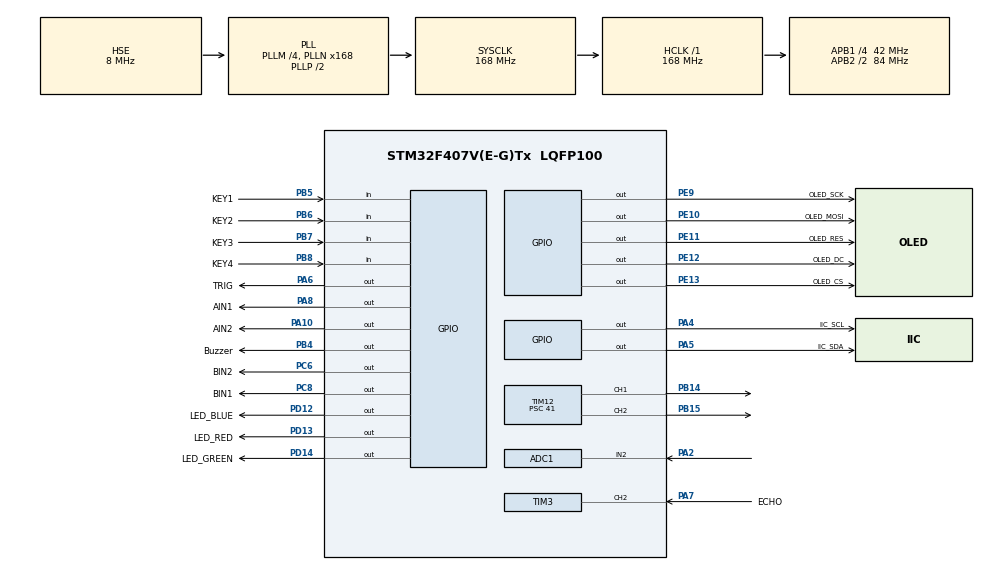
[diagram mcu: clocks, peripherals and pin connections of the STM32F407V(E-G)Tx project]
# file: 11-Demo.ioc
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ADC1.Channel-0\#ChannelRegularConversion=ADC_CHANNEL_2
ADC1.NbrOfConversionFlag=1
ADC1.Rank-0\#ChannelRegularConversion=1
ADC1.SamplingTime-0\#ChannelRegularConversion=ADC_SAMPLETIME_3CYCLES
ADC1.master=1
Mcu.Family=STM32F4
Mcu.Name=STM32F407V(E-G)Tx
Mcu.Package=LQFP100
NVIC.PriorityGroup=NVIC_PRIORITYGROUP_4
NVIC.TIM3_IRQn=true\:0\:0\:false\:false\:true\:true\:true\:true
PA10.GPIO_Label=AIN2
PA10.GPIO_Speed=GPIO_SPEED_FREQ_MEDIUM
PA10.Signal=GPIO_Output
PA13.Mode=Serial_Wire
PA13.Signal=SYS_JTMS-SWDIO
PA14.Mode=Serial_Wire
PA14.Signal=SYS_JTCK-SWCLK
PA2.Signal=ADCx_IN2
PA4.GPIO_Label=IIC_SCL
PA4.GPIO_ModeDefaultOutputPP=GPIO_MODE_OUTPUT_OD
PA4.GPIO_PuPd=GPIO_PULLUP
PA4.GPIO_Speed=GPIO_SPEED_FREQ_MEDIUM
PA4.PinState=GPIO_PIN_SET
PA4.Signal=GPIO_Output
PA5.GPIO_Label=IIC_SDA
PA5.GPIO_ModeDefaultOutputPP=GPIO_MODE_OUTPUT_OD
PA5.GPIO_PuPd=GPIO_PULLUP
PA5.GPIO_Speed=GPIO_SPEED_FREQ_MEDIUM
PA5.PinState=GPIO_PIN_SET
PA5.Signal=GPIO_Output
PA6.GPIO_Label=TRIG
PA6.GPIO_Speed=GPIO_SPEED_FREQ_MEDIUM
PA6.Signal=GPIO_Output
PA7.GPIO_Label=ECHO
PA7.GPIO_Speed=GPIO_SPEED_FREQ_MEDIUM
PA7.Signal=S_TIM3_CH2
PA8.GPIO_Label=AIN1
PA8.GPIO_Speed=GPIO_SPEED_FREQ_MEDIUM
PA8.Signal=GPIO_Output
PB14.Signal=S_TIM12_CH1
PB15.Signal=S_TIM12_CH2
PB4.GPIO_Label=Buzzer
PB4.GPIO_Speed=GPIO_SPEED_FREQ_MEDIUM
PB4.Signal=GPIO_Output
PB5.GPIO_Label=KEY1
PB5.GPIO_PuPd=GPIO_PULLUP
PB5.Signal=GPIO_Input
PB6.GPIO_Label=KEY2
PB6.GPIO_PuPd=GPIO_PULLUP
PB6.Signal=GPIO_Input
PB7.GPIO_Label=KEY3
PB7.GPIO_PuPd=GPIO_PULLUP
PB7.Signal=GPIO_Input
PB8.GPIO_Label=KEY4
PB8.GPIO_PuPd=GPIO_PULLUP
PB8.Signal=GPIO_Input
PC14-OSC32_IN.Mode=LSE-External-Oscillator
PC14-OSC32_IN.Signal=RCC_OSC32_IN
PC15-OSC32_OUT.Mode=LSE-External-Oscillator
PC15-OSC32_OUT.Signal=RCC_OSC32_OUT
PC6.GPIO_Label=BIN2
PC6.GPIO_Speed=GPIO_SPEED_FREQ_MEDIUM
PC6.Signal=GPIO_Output
PC8.GPIO_Label=BIN1
PC8.GPIO_Speed=GPIO_SPEED_FREQ_MEDIUM
PC8.Signal=GPIO_Output
PD12.GPIO_Label=LED_BLUE
PD12.GPIO_Speed=GPIO_SPEED_FREQ_MEDIUM
PD12.Signal=GPIO_Output
PD13.GPIO_Label=LED_RED
PD13.GPIO_Speed=GPIO_SPEED_FREQ_MEDIUM
PD13.Signal=GPIO_Output
PD14.GPIO_Label=LED_GREEN
PD14.GPIO_Speed=GPIO_SPEED_FREQ_MEDIUM
PD14.Signal=GPIO_Output
PE10.GPIO_Label=OLED_MOSI
PE10.GPIO_Speed=GPIO_SPEED_FREQ_MEDIUM
PE10.Signal=GPIO_Output
PE11.GPIO_Label=OLED_RES
PE11.GPIO_Speed=GPIO_SPEED_FREQ_MEDIUM
PE11.Signal=GPIO_Output
PE12.GPIO_Label=OLED_DC
PE12.GPIO_Speed=GPIO_SPEED_FREQ_MEDIUM
PE12.Signal=GPIO_Output
PE13.GPIO_Label=OLED_CS
PE13.GPIO_Speed=GPIO_SPEED_FREQ_MEDIUM
PE13.Signal=GPIO_Output
PE9.GPIO_Label=OLED_SCK
PE9.GPIO_Speed=GPIO_SPEED_FREQ_MEDIUM
PE9.Signal=GPIO_Output
PH0-OSC_IN.Mode=HSE-External-Oscillator
PH0-OSC_IN.Signal=RCC_OSC_IN
PH1-OSC_OUT.Mode=HSE-External-Oscillator
PH1-OSC_OUT.Signal=RCC_OSC_OUT
ProjectManager.HeapSize=0x200
ProjectManager.StackSize=0x400
ProjectManager.TargetToolchain=MDK-ARM V5.32
RCC.48MHZClocksFreq_Value=84000000
RCC.AHBFreq_Value=168000000
RCC.APB1CLKDivider=RCC_HCLK_DIV4
RCC.APB1Freq_Value=42000000
RCC.APB1TimFreq_Value=84000000
RCC.APB2CLKDivider=RCC_HCLK_DIV2
RCC.APB2Freq_Value=84000000
RCC.APB2TimFreq_Value=168000000
RCC.CortexFreq_Value=168000000
RCC.HCLKFreq_Value=168000000
RCC.HSE_VALUE=8000000
RCC.HSI_VALUE=16000000
RCC.PLLM=4
RCC.PLLN=168
RCC.PLLSourceVirtual=RCC_PLLSOURCE_HSE
RCC.SYSCLKFreq_VALUE=168000000
RCC.SYSCLKSource=RCC_SYSCLKSOURCE_PLLCLK
RCC.VCOOutputFreq_Value=336000000
SH.ADCx_IN2.0=ADC1_IN2,IN2
SH.S_TIM12_CH1.0=TIM12_CH1,PWM Generation1 CH1
SH.S_TIM12_CH2.0=TIM12_CH2,PWM Generation2 CH2
SH.S_TIM3_CH2.0=TIM3_CH2,Input_Capture2_from_TI2
TIM12.Channel-PWM\ Generation1\ CH1=TIM_CHANNEL_1
TIM12.Channel-PWM\ Generation2\ CH2=TIM_CHANNEL_2
TIM12.Period=99
TIM12.Prescaler=41
TIM3.AutoReloadPreload=TIM_AUTORELOAD_PRELOAD_ENABLE
TIM3.Channel-Input_Capture2_from_TI2=TIM_CHANNEL_2
TIM3.Prescaler=83
VP_TIM12_VS_ClockSourceINT.Mode=Internal
VP_TIM3_VS_ClockSourceINT.Mode=Internal
board=custom

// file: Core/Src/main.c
/* USER CODE BEGIN Header */
/**
  ******************************************************************************
  * @file           : main.c
  * @brief          : Main program body
  ******************************************************************************
  * @attention
  *
  * Copyright (c) 2025 STMicroelectronics.
  * All rights reserved.
  *
  * This software is licensed under terms that can be found in the LICENSE file
  * in the root directory of this software component.
  * If no LICENSE file comes with this software, it is provided AS-IS.
  *
  ******************************************************************************
  */
/* USER CODE END Header */
#include "main.h"
#include "adc.h"
#include "tim.h"
#include "gpio.h"

/* USER CODE BEGIN Includes */
#include "oled.h"
#include "buzzer.h"
#include "led.h"
#include "key.h"
#include "adc.h"
#include "hcsr04.h"
#include "MPU6050.h"
#include "motor.h"
/* USER CODE END Includes */

/* USER CODE BEGIN PV */
float distance;                         // 距离变量(cm)
uint32_t ldr_value;                     // LDR原始值
float voltage;                          // LDR电压值(V)
uint8_t display_mode;                   // 显示模式(0:距离 1:LDR)
int16_t AX, AY, AZ, GX, GY, GZ;			//定义用于存放各个数据的变量
/* USER CODE END PV */

void SystemClock_Config(void);

int main(void)
{

  /* USER CODE BEGIN 1 */
  display_mode = 0;
  /* USER CODE END 1 */

  /* MCU Configuration--------------------------------------------------------*/

  /* Reset of all peripherals, Initializes the Flash interface and the Systick. */
  HAL_Init();

  /* Configure the system clock */
  SystemClock_Config();

  /* Initialize all configured peripherals */
  MX_GPIO_Init();
  MX_ADC1_Init();
  MX_TIM3_Init();
  MX_TIM12_Init();
  /* USER CODE BEGIN 2 */
  oled_init();
  MPU6050_Init();
  led_blue_off();

  HAL_TIM_Base_Start_IT(&htim3);
  HAL_TIM_IC_Start_IT(&htim3, TIM_CHANNEL_2);

  hcsr04_start();

  HAL_TIM_PWM_Start(&htim12, TIM_CHANNEL_1);
  HAL_TIM_PWM_Start(&htim12, TIM_CHANNEL_2);

  motor_setspeed1(30);
  motor_setspeed2(-30);
  /* USER CODE END 2 */

  /* Infinite loop */
  while (1)
  {

    /* USER CODE BEGIN 3 */
	uint8_t key = key_getnum();
    if (key == 1)
    {
		display_mode++;      // 切换显示模式
		if (display_mode > 2)
		{
			display_mode = 0;
		}

		buzzer_on();
		HAL_Delay(100);
		buzzer_off();
		oled_clear();
    }

	// 读取LDR数据
	HAL_ADC_Start(&hadc1);
    HAL_ADC_PollForConversion(&hadc1, HAL_MAX_DELAY);
    ldr_value = HAL_ADC_GetValue(&hadc1);
    voltage = (ldr_value / 4095.0f) * 3.3f;

	// 超声波测距
    distance = hcsr04_getdistance(&HCSR04);
	hcsr04_start();

	// 读取陀螺仪数据
	MPU6050_GetData(&AX, &AY, &AZ, &GX, &GY, &GZ);

	if (distance < 20.0f && distance > 0.0f)
    {
		led_red_on();
		led_green_off();
		if (distance < 10.0f)
		{
			buzzer_on();        // 近距离蜂鸣报警
		}
		else
		{
			buzzer_off();
		}
    }
    else
    {
		led_red_off();
		led_green_on();
		buzzer_off();
    }

	// OLED显示
    oled_showstring(1, 1, "Mode:");
    if (display_mode == 0)
    {
		oled_showstring(1, 6, "Distance");
		oled_showstring(2, 1, "Dist:");
		oled_shownum(2, 6, (uint32_t)distance, 3);
		oled_showchar(2, 9, 'c');
		oled_showchar(2, 10, 'm');
    }
    else if (display_mode == 1)
    {
		oled_showstring(1, 6, "LDR Sensor");
		oled_showstring(2, 1, "ADC:");
		oled_shownum(2, 5, ldr_value, 4);
		oled_showstring(3, 1, "Volt:");
		oled_shownum(3, 6, (uint32_t)(voltage * 1000), 3);
		oled_showchar(3, 9, 'm');
		oled_showchar(3, 10, 'V');

		// 显示ADC值可以给个延迟，不然太快
		HAL_Delay(50);
    }
	else if (display_mode == 2)
	{
		oled_showstring(1, 6, "MPU6050");
		oled_showsignednum(2, 1, AX, 5);
		oled_showsignednum(3, 1, AY, 5);
		oled_showsignednum(4, 1, AZ, 5);
		oled_showsignednum(2, 8, GX, 5);
		oled_showsignednum(3, 8, GY, 5);
		oled_showsignednum(4, 8, GZ, 5);
	}
  }
  /* USER CODE END 3 */
}

void SystemClock_Config(void)
{
  RCC_OscInitTypeDef RCC_OscInitStruct = {0};
  RCC_ClkInitTypeDef RCC_ClkInitStruct = {0};

  /** Configure the main internal regulator output voltage
  */
  __HAL_RCC_PWR_CLK_ENABLE();
  __HAL_PWR_VOLTAGESCALING_CONFIG(PWR_REGULATOR_VOLTAGE_SCALE1);

  /** Initializes the RCC Oscillators according to the specified parameters
  * in the RCC_OscInitTypeDef structure.
  */
  RCC_OscInitStruct.OscillatorType = RCC_OSCILLATORTYPE_HSE;
  RCC_OscInitStruct.HSEState = RCC_HSE_ON;
  RCC_OscInitStruct.PLL.PLLState = RCC_PLL_ON;
  RCC_OscInitStruct.PLL.PLLSource = RCC_PLLSOURCE_HSE;
  RCC_OscInitStruct.PLL.PLLM = 4;
  RCC_OscInitStruct.PLL.PLLN = 168;
  RCC_OscInitStruct.PLL.PLLP = RCC_PLLP_DIV2;
  RCC_OscInitStruct.PLL.PLLQ = 4;
  if (HAL_RCC_OscConfig(&RCC_OscInitStruct) != HAL_OK)
  {
    Error_Handler();
  }

  /** Initializes the CPU, AHB and APB buses clocks
  */
  RCC_ClkInitStruct.ClockType = RCC_CLOCKTYPE_HCLK|RCC_CLOCKTYPE_SYSCLK
                              |RCC_CLOCKTYPE_PCLK1|RCC_CLOCKTYPE_PCLK2;
  RCC_ClkInitStruct.SYSCLKSource = RCC_SYSCLKSOURCE_PLLCLK;
  RCC_ClkInitStruct.AHBCLKDivider = RCC_SYSCLK_DIV1;
  RCC_ClkInitStruct.APB1CLKDivider = RCC_HCLK_DIV4;
  RCC_ClkInitStruct.APB2CLKDivider = RCC_HCLK_DIV2;

  if (HAL_RCC_ClockConfig(&RCC_ClkInitStruct, FLASH_LATENCY_5) != HAL_OK)
  {
    Error_Handler();
  }
}

void Error_Handler(void)
{
  __disable_irq();
  while (1)
  {
  }
}
